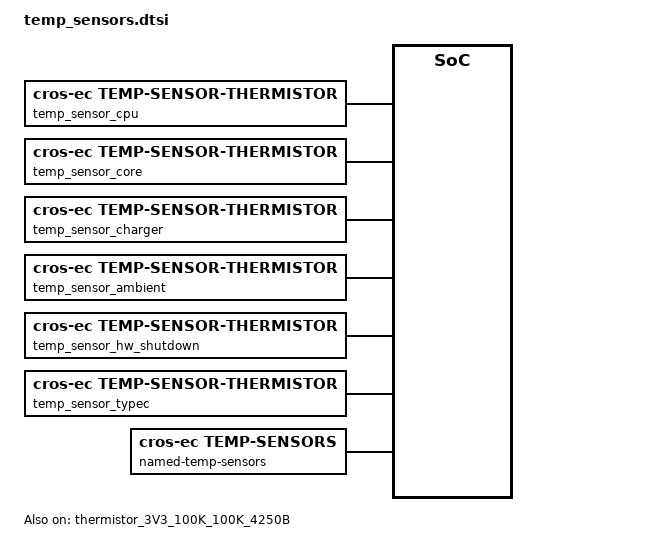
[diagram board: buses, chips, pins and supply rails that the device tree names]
/* Copyright 2026 The ChromiumOS Authors
 * Use of this source code is governed by a BSD-style license that can be
 * found in the LICENSE file.
 */

#include <cros/thermistor/thermistor.dtsi>

/ {
	named-adc-channels {

		adc_temp_cpu: cpu {
			enum-name = "ADC_TEMP_SENSOR_1";
			io-channels = <&adc0 0>;
		};
		adc_temp_core: core {
			enum-name = "ADC_TEMP_SENSOR_2";
			io-channels = <&adc0 1>;
		};
		adc_temp_charger: charger {
			enum-name = "ADC_TEMP_SENSOR_3";
			io-channels = <&adc0 2>;
		};
		adc_temp_ambient: ambient {
			enum-name = "ADC_TEMP_SENSOR_4";
			io-channels = <&adc0 3>;
		};
		adc_temp_hw_shutdown: hw_shutdown {
			enum-name = "ADC_TEMP_SENSOR_5";
			io-channels = <&adc0 4>;
		};
		adc_temp_typec: typec {
			enum-name = "ADC_TEMP_SENSOR_6";
			io-channels = <&adc0 7>;
		};
		adc_usb_keybaord_det: usb_keybaord_det {
			enum-name = "ADC_BASE_DET";
			io-channels = <&adc0 6>;
		};
	};

	temp_sensor_cpu: cpu {
		compatible = "cros-ec,temp-sensor-thermistor";
		thermistor = <&thermistor_3V3_100K_100K_4250B>;
		adc = <&adc_temp_cpu>;
	};
	temp_sensor_core: core {
		compatible = "cros-ec,temp-sensor-thermistor";
		thermistor = <&thermistor_3V3_100K_100K_4250B>;
		adc = <&adc_temp_core>;
	};
	temp_sensor_charger: charger {
		compatible = "cros-ec,temp-sensor-thermistor";
		thermistor = <&thermistor_3V3_100K_100K_4250B>;
		adc = <&adc_temp_charger>;
	};
	temp_sensor_ambient: ambient {
		compatible = "cros-ec,temp-sensor-thermistor";
		thermistor = <&thermistor_3V3_100K_100K_4250B>;
		adc = <&adc_temp_ambient>;
	};
	temp_sensor_hw_shutdown: hw_shutdown {
		compatible = "cros-ec,temp-sensor-thermistor";
		thermistor = <&thermistor_3V3_100K_100K_4250B>;
		adc = <&adc_temp_hw_shutdown>;
	};
	temp_sensor_typec: typec {
		compatible = "cros-ec,temp-sensor-thermistor";
		thermistor = <&thermistor_3V3_100K_100K_4250B>;
		adc = <&adc_temp_typec>;
	};

	named-temp-sensors {
		compatible = "cros-ec,temp-sensors";
		temp_cpu: cpu {
			sensor = <&temp_sensor_cpu>;
		};
		temp_core: core {
			sensor = <&temp_sensor_core>;
		};
		temp_charger: charger {
			sensor = <&temp_sensor_charger>;
		};
		temp_ambient: ambient {
			sensor = <&temp_sensor_ambient>;
		};
		temp_hw_shutdown: hw_shutdown {
			sensor = <&temp_sensor_hw_shutdown>;
		};
		temp_typec: typec {
			sensor = <&temp_sensor_typec>;
		};
	};
};

&thermistor_3V3_100K_100K_4250B {
	status = "okay";
};

&adc0 {
	pinctrl-0 = <&adc0_chan0_gp45
		&adc0_chan1_gp44
		&adc0_chan2_gp43
		&adc0_chan3_gp42
		&adc0_chan4_gp41
		&adc0_chan6_gp34
		&adc0_chan7_gpe1
		&adc0_chan11_gpc7>;
	pinctrl-names = "default";
};
